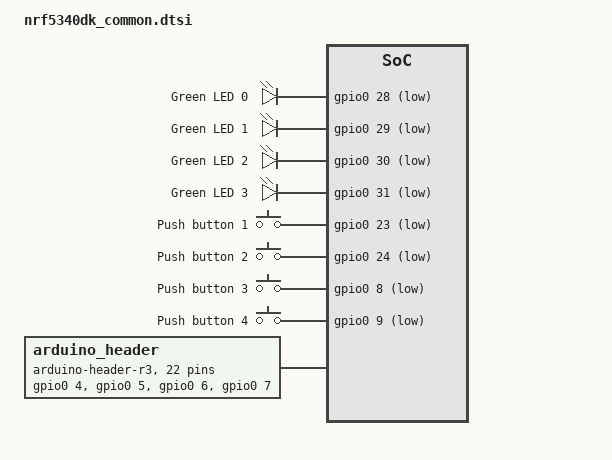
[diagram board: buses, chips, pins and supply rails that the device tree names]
/*
 * Copyright (c) 2020 Nordic Semiconductor ASA
 *
 * SPDX-License-Identifier: Apache-2.0
 */

#include <zephyr/dt-bindings/gpio/arduino-header-r3.h>

/ {
	leds {
		compatible = "gpio-leds";

		led0: led_0 {
			gpios = <&gpio0 28 GPIO_ACTIVE_LOW>;
			label = "Green LED 0";
		};

		led1: led_1 {
			gpios = <&gpio0 29 GPIO_ACTIVE_LOW>;
			label = "Green LED 1";
		};

		led2: led_2 {
			gpios = <&gpio0 30 GPIO_ACTIVE_LOW>;
			label = "Green LED 2";
		};

		led3: led_3 {
			gpios = <&gpio0 31 GPIO_ACTIVE_LOW>;
			label = "Green LED 3";
		};
	};

	buttons {
		compatible = "gpio-keys";

		button0: button_0 {
			gpios = <&gpio0 23 (GPIO_PULL_UP | GPIO_ACTIVE_LOW)>;
			label = "Push button 1";
			zephyr,code = <INPUT_KEY_0>;
		};

		button1: button_1 {
			gpios = <&gpio0 24 (GPIO_PULL_UP | GPIO_ACTIVE_LOW)>;
			label = "Push button 2";
			zephyr,code = <INPUT_KEY_1>;
		};

		button2: button_2 {
			gpios = <&gpio0 8 (GPIO_PULL_UP | GPIO_ACTIVE_LOW)>;
			label = "Push button 3";
			zephyr,code = <INPUT_KEY_2>;
		};

		button3: button_3 {
			gpios = <&gpio0 9 (GPIO_PULL_UP | GPIO_ACTIVE_LOW)>;
			label = "Push button 4";
			zephyr,code = <INPUT_KEY_3>;
		};
	};

	arduino_header: connector {
		compatible = "arduino-header-r3";
		#gpio-cells = <2>;
		gpio-map-mask = <0xffffffff 0xffffffc0>;
		gpio-map-pass-thru = <0 0x3f>;
		gpio-map = <ARDUINO_HEADER_R3_A0 0 &gpio0 4 0>,
			   <ARDUINO_HEADER_R3_A1 0 &gpio0 5 0>,
			   <ARDUINO_HEADER_R3_A2 0 &gpio0 6 0>,
			   <ARDUINO_HEADER_R3_A3 0 &gpio0 7 0>,
			   <ARDUINO_HEADER_R3_A4 0 &gpio0 25 0>,
			   <ARDUINO_HEADER_R3_A5 0 &gpio0 26 0>,
			   <ARDUINO_HEADER_R3_D0 0 &gpio1 0 0>,
			   <ARDUINO_HEADER_R3_D1 0 &gpio1 1 0>,
			   <ARDUINO_HEADER_R3_D2 0 &gpio1 4 0>,
			   <ARDUINO_HEADER_R3_D3 0 &gpio1 5 0>,
			   <ARDUINO_HEADER_R3_D4 0 &gpio1 6 0>,
			   <ARDUINO_HEADER_R3_D5 0 &gpio1 7 0>,
			   <ARDUINO_HEADER_R3_D6 0 &gpio1 8 0>,
			   <ARDUINO_HEADER_R3_D7 0 &gpio1 9 0>,
			   <ARDUINO_HEADER_R3_D8 0 &gpio1 10 0>,
			   <ARDUINO_HEADER_R3_D9 0 &gpio1 11 0>,
			   <ARDUINO_HEADER_R3_D10 0 &gpio1 12 0>,
			   <ARDUINO_HEADER_R3_D11 0 &gpio1 13 0>,
			   <ARDUINO_HEADER_R3_D12 0 &gpio1 14 0>,
			   <ARDUINO_HEADER_R3_D13 0 &gpio1 15 0>,
			   <ARDUINO_HEADER_R3_D14 0 &gpio1 2 0>,
			   <ARDUINO_HEADER_R3_D15 0 &gpio1 3 0>;
	};

	/* These aliases are provided for compatibility with samples */
	aliases {
		led0 = &led0;
		led1 = &led1;
		led2 = &led2;
		led3 = &led3;
		sw0 = &button0;
		sw1 = &button1;
		sw2 = &button2;
		sw3 = &button3;
		mcuboot-button0 = &button0;
		mcuboot-led0 = &led0;
	};
};
